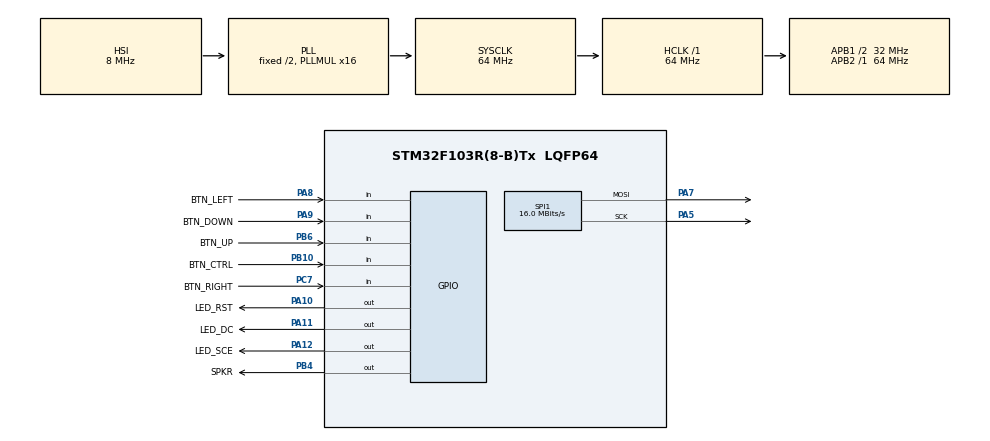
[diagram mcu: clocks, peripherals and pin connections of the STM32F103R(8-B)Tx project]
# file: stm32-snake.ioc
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Mcu.Family=STM32F1
Mcu.Name=STM32F103R(8-B)Tx
Mcu.Package=LQFP64
NVIC.PriorityGroup=NVIC_PRIORITYGROUP_4
PA10.GPIO_Label=LED_RST
PA10.Signal=GPIO_Output
PA11.GPIO_Label=LED_DC
PA11.Signal=GPIO_Output
PA12.GPIO_Label=LED_SCE
PA12.Signal=GPIO_Output
PA5.Mode=TX_Only_Simplex_Unidirect_Master
PA5.Signal=SPI1_SCK
PA7.Mode=TX_Only_Simplex_Unidirect_Master
PA7.Signal=SPI1_MOSI
PA8.GPIO_Label=BTN_LEFT
PA8.Signal=GPIO_Input
PA9.GPIO_Label=BTN_DOWN
PA9.Signal=GPIO_Input
PB10.GPIO_Label=BTN_CTRL
PB10.Signal=GPIO_Input
PB4.GPIO_Label=SPKR
PB4.Signal=GPIO_Output
PB6.GPIO_Label=BTN_UP
PB6.Signal=GPIO_Input
PC7.GPIO_Label=BTN_RIGHT
PC7.Signal=GPIO_Input
ProjectManager.HeapSize=0x200
ProjectManager.StackSize=0x400
ProjectManager.TargetToolchain=SW4STM32
RCC.AHBFreq_Value=64000000
RCC.APB1CLKDivider=RCC_HCLK_DIV2
RCC.APB1Freq_Value=32000000
RCC.APB1TimFreq_Value=64000000
RCC.APB2Freq_Value=64000000
RCC.APB2TimFreq_Value=64000000
RCC.HCLKFreq_Value=64000000
RCC.PLLMUL=RCC_PLL_MUL16
RCC.SYSCLKFreq_VALUE=64000000
RCC.SYSCLKSource=RCC_SYSCLKSOURCE_PLLCLK
RCC.USBFreq_Value=64000000
SPI1.BaudRatePrescaler=SPI_BAUDRATEPRESCALER_4
SPI1.CalculateBaudRate=16.0 MBits/s
SPI1.Direction=SPI_DIRECTION_2LINES
SPI1.Mode=SPI_MODE_MASTER
SPI1.VirtualType=VM_MASTER
TIM1.Period=0xffff-1
TIM1.Prescaler=64-1
VP_SYS_VS_ND.Mode=No_Debug
VP_TIM1_VS_ClockSourceINT.Mode=Internal
board=custom

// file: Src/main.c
/**
  ******************************************************************************
  * @file           : main.c
  * @brief          : Main program body
  ******************************************************************************
  ** This notice applies to any and all portions of this file
  * that are not between comment pairs USER CODE BEGIN and
  * USER CODE END. Other portions of this file, whether
  * inserted by the user or by software development tools
  * are owned by their respective copyright owners.
  *
  * COPYRIGHT(c) 2020 STMicroelectronics
  *
  * Redistribution and use in source and binary forms, with or without modification,
  * are permitted provided that the following conditions are met:
  *   1. Redistributions of source code must retain the above copyright notice,
  *      this list of conditions and the following disclaimer.
  *   2. Redistributions in binary form must reproduce the above copyright notice,
  *      this list of conditions and the following disclaimer in the documentation
  *      and/or other materials provided with the distribution.
  *   3. Neither the name of STMicroelectronics nor the names of its contributors
  *      may be used to endorse or promote products derived from this software
  *      without specific prior written permission.
  *
  * THIS SOFTWARE IS PROVIDED BY THE COPYRIGHT HOLDERS AND CONTRIBUTORS "AS IS"
  * AND ANY EXPRESS OR IMPLIED WARRANTIES, INCLUDING, BUT NOT LIMITED TO, THE
  * IMPLIED WARRANTIES OF MERCHANTABILITY AND FITNESS FOR A PARTICULAR PURPOSE ARE
  * DISCLAIMED. IN NO EVENT SHALL THE COPYRIGHT HOLDER OR CONTRIBUTORS BE LIABLE
  * FOR ANY DIRECT, INDIRECT, INCIDENTAL, SPECIAL, EXEMPLARY, OR CONSEQUENTIAL
  * DAMAGES (INCLUDING, BUT NOT LIMITED TO, PROCUREMENT OF SUBSTITUTE GOODS OR
  * SERVICES; LOSS OF USE, DATA, OR PROFITS; OR BUSINESS INTERRUPTION) HOWEVER
  * CAUSED AND ON ANY THEORY OF LIABILITY, WHETHER IN CONTRACT, STRICT LIABILITY,
  * OR TORT (INCLUDING NEGLIGENCE OR OTHERWISE) ARISING IN ANY WAY OUT OF THE USE
  * OF THIS SOFTWARE, EVEN IF ADVISED OF THE POSSIBILITY OF SUCH DAMAGE.
  *
  ******************************************************************************
  */
#include "main.h"
#include "stm32f1xx_hal.h"

/* USER CODE BEGIN Includes */
#include <string.h>
#include <stdlib.h>
#include "lcd/lcd5110.h"
#include "logo.h"
#include "game.h"
#include "tone.h"
/* USER CODE END Includes */

SPI_HandleTypeDef hspi1;

TIM_HandleTypeDef htim1;

/* USER CODE BEGIN PV */
/* Private variables ---------------------------------------------------------*/

/* USER CODE END PV */

void SystemClock_Config(void);
static void MX_GPIO_Init(void);
static void MX_SPI1_Init(void);
static void MX_TIM1_Init(void);

/* USER CODE BEGIN PFP */
/* Private function prototypes -----------------------------------------------*/

/* USER CODE END PFP */

/* USER CODE BEGIN 0 */
display_5110 display = {
        .hspi = &hspi1,
        .RESET_BASE = LED_RST_GPIO_Port,
        .RESET_PIN = LED_RST_Pin,
        .COM_DAT_BASE = LED_DC_GPIO_Port,
        .COM_DAT_PIN = LED_DC_Pin,
        .SCE_BASE = LED_SCE_GPIO_Port,
        .SCE_PIN = LED_SCE_Pin
};
int snake[SNAKE_MAX_SIZE][2] = { 0 };
int snakeLength = 4;
int snakeDirection = SNAKE_DIRECTION_LEFT;
int food[2] = { 4, 4 };
int snakeSpeed = 100; // ms between movement frames
int mode = MODE_START_SCREEN;
int gameState = GAME_STATE_IN_PROGRESS;

void initializeGame() {
    srand(__HAL_TIM_GET_COUNTER(&htim1));
    snakeLength = 4;
    snakeDirection = SNAKE_DIRECTION_LEFT;
    food[0] = 4;
    food[1] = 4;

    for (int i = 0; i < SNAKE_MAX_SIZE; i++) {
        snake[i][0] = 0;
        snake[i][1] = 0;
    }

    snake[0][0] = 17;
    snake[0][1] = 8;

    snake[1][0] = 16;
    snake[1][1] = 8;

    snake[2][0] = 15;
    snake[2][1] = 8;

    snake[3][0] = 14;
    snake[3][1] = 8;
}

void drawBorders() {
    draw_rect(&display, 0, 0, 84, 48);
}

void drawSnake(int snake[][2], int length) {
    for (int i = 0; i < length; i++) {
        draw_rect(&display, BLOCK_SIZE * snake[i][0], BLOCK_SIZE * snake[i][1], BLOCK_SIZE, BLOCK_SIZE);
    }
}

void drawFood(int food[2]) {
    draw_filled_rect(&display, BLOCK_SIZE * food[0], BLOCK_SIZE * food[1], BLOCK_SIZE, BLOCK_SIZE);
}

/* USER CODE END 0 */

int main(void)
{

  /* MCU Configuration----------------------------------------------------------*/

  /* Reset of all peripherals, Initializes the Flash interface and the Systick. */
  HAL_Init();

  /* Configure the system clock */
  SystemClock_Config();

  /* Initialize all configured peripherals */
  MX_GPIO_Init();
  MX_SPI1_Init();
  MX_TIM1_Init();
  /* USER CODE BEGIN 2 */
  HAL_TIM_Base_Start(&htim1);

  // Setup display
  uint8_t lcd_buffer[528] = { 0x00 };
  memcpy(lcd_buffer, snake_start_Bitmap, LCD_BUFFER_SIZE);
  display.buf = lcd_buffer;
  init_display(&display);
  print_string(&display, "Play: F button", 14, 0, 40);
  refresh_display(&display);

  /* USER CODE END 2 */

  /* Infinite loop */
  /* USER CODE BEGIN WHILE */
    while (1) {
        if (mode == MODE_START_SCREEN && HAL_GPIO_ReadPin(BTN_CTRL_GPIO_Port, BTN_CTRL_Pin) == GPIO_PIN_RESET) { // step into game
            mode = MODE_GAME_SCREEN;
            gameState = GAME_STATE_IN_PROGRESS;
            initializeGame();

            int doEats = false;
            int doBitesItself = false;
            int doCollidesWithWall = false;

            playNokiaTune(&htim1, SPKR_GPIO_Port, SPKR_Pin);

            while (true) {
                clear_display(&display);
                snakeDirection = determineDirection(snakeDirection);
                doEats = isSnakeEating(snake, snakeLength, food);
                doBitesItself = isSnakeBitesItself(snake, snakeLength);
                doCollidesWithWall = isSnakeCollidesWithWall(snake, snakeLength, snakeDirection);

                if (doEats) {
                    snakeLength++;
                    playFoodCatchSound(&htim1, SPKR_GPIO_Port, SPKR_Pin);
                    moveFood(snake, snakeLength, food);
                }

                if (doBitesItself || doCollidesWithWall) {
                    gameState = GAME_STATE_GAMEOVER;
                    mode = MODE_RESULT_SCREEN;
                    playGameOverSound(&htim1, SPKR_GPIO_Port, SPKR_Pin);
                    break;
                }

                if (snakeLength == SNAKE_MAX_SIZE) {
                    gameState = GAME_STATE_WIN;
                    mode = MODE_RESULT_SCREEN;
                    playWinnerSound(&htim1, SPKR_GPIO_Port, SPKR_Pin);
                    break;
                }

                moveSnake(snake, snakeLength, snakeDirection, doEats);
                drawBorders();
                drawSnake(snake, snakeLength);
                drawFood(food);
                refresh_display(&display);
                HAL_Delay(snakeSpeed);
            }
        }

        if (mode == MODE_RESULT_SCREEN && gameState == GAME_STATE_GAMEOVER) {
            clear_display(&display);
            print_string(&display, "Game Over :(", 12, 6, 0);

            char length[3];
            itoa(snakeLength, length, 10);
            char message[14] = "Length was ";
            strcat(message, length);
            print_string(&display, message, strlen(message), 4, 12);

            print_string(&display, "New game: F", 11, 8, 36);
            refresh_display(&display);
        }

        if (mode == MODE_RESULT_SCREEN && gameState == GAME_STATE_WIN) {
            clear_display(&display);
            print_string(&display, "You won!", 8, 16, 0);

            char length[3];
            itoa(snakeLength, length, 10);
            char message[14] = "Length was ";
            strcat(message, length);
            print_string(&display, message, strlen(message), 4, 12);

            print_string(&display, "New game: F", 11, 8, 36);
            refresh_display(&display);
        }

        if (mode == MODE_RESULT_SCREEN && HAL_GPIO_ReadPin(BTN_CTRL_GPIO_Port, BTN_CTRL_Pin) == GPIO_PIN_RESET) {
            mode = MODE_START_SCREEN;
        }

  /* USER CODE END WHILE */

    }

}

void SystemClock_Config(void)
{

  RCC_OscInitTypeDef RCC_OscInitStruct;
  RCC_ClkInitTypeDef RCC_ClkInitStruct;

    /**Initializes the CPU, AHB and APB busses clocks
    */
  RCC_OscInitStruct.OscillatorType = RCC_OSCILLATORTYPE_HSI;
  RCC_OscInitStruct.HSIState = RCC_HSI_ON;
  RCC_OscInitStruct.HSICalibrationValue = 16;
  RCC_OscInitStruct.PLL.PLLState = RCC_PLL_ON;
  RCC_OscInitStruct.PLL.PLLSource = RCC_PLLSOURCE_HSI_DIV2;
  RCC_OscInitStruct.PLL.PLLMUL = RCC_PLL_MUL16;
  if (HAL_RCC_OscConfig(&RCC_OscInitStruct) != HAL_OK)
  {
    _Error_Handler(__FILE__, __LINE__);
  }

    /**Initializes the CPU, AHB and APB busses clocks
    */
  RCC_ClkInitStruct.ClockType = RCC_CLOCKTYPE_HCLK|RCC_CLOCKTYPE_SYSCLK
                              |RCC_CLOCKTYPE_PCLK1|RCC_CLOCKTYPE_PCLK2;
  RCC_ClkInitStruct.SYSCLKSource = RCC_SYSCLKSOURCE_PLLCLK;
  RCC_ClkInitStruct.AHBCLKDivider = RCC_SYSCLK_DIV1;
  RCC_ClkInitStruct.APB1CLKDivider = RCC_HCLK_DIV2;
  RCC_ClkInitStruct.APB2CLKDivider = RCC_HCLK_DIV1;

  if (HAL_RCC_ClockConfig(&RCC_ClkInitStruct, FLASH_LATENCY_2) != HAL_OK)
  {
    _Error_Handler(__FILE__, __LINE__);
  }

    /**Configure the Systick interrupt time
    */
  HAL_SYSTICK_Config(HAL_RCC_GetHCLKFreq()/1000);

    /**Configure the Systick
    */
  HAL_SYSTICK_CLKSourceConfig(SYSTICK_CLKSOURCE_HCLK);

  /* SysTick_IRQn interrupt configuration */
  HAL_NVIC_SetPriority(SysTick_IRQn, 0, 0);
}

/* SPI1 init function */
static void MX_SPI1_Init(void)
{

  /* SPI1 parameter configuration*/
  hspi1.Instance = SPI1;
  hspi1.Init.Mode = SPI_MODE_MASTER;
  hspi1.Init.Direction = SPI_DIRECTION_2LINES;
  hspi1.Init.DataSize = SPI_DATASIZE_8BIT;
  hspi1.Init.CLKPolarity = SPI_POLARITY_LOW;
  hspi1.Init.CLKPhase = SPI_PHASE_1EDGE;
  hspi1.Init.NSS = SPI_NSS_SOFT;
  hspi1.Init.BaudRatePrescaler = SPI_BAUDRATEPRESCALER_4;
  hspi1.Init.FirstBit = SPI_FIRSTBIT_MSB;
  hspi1.Init.TIMode = SPI_TIMODE_DISABLE;
  hspi1.Init.CRCCalculation = SPI_CRCCALCULATION_DISABLE;
  hspi1.Init.CRCPolynomial = 10;
  if (HAL_SPI_Init(&hspi1) != HAL_OK)
  {
    _Error_Handler(__FILE__, __LINE__);
  }

}

/* TIM1 init function */
static void MX_TIM1_Init(void)
{

  TIM_ClockConfigTypeDef sClockSourceConfig;
  TIM_MasterConfigTypeDef sMasterConfig;

  htim1.Instance = TIM1;
  htim1.Init.Prescaler = 64-1;
  htim1.Init.CounterMode = TIM_COUNTERMODE_UP;
  htim1.Init.Period = 0xffff-1;
  htim1.Init.ClockDivision = TIM_CLOCKDIVISION_DIV1;
  htim1.Init.RepetitionCounter = 0;
  htim1.Init.AutoReloadPreload = TIM_AUTORELOAD_PRELOAD_DISABLE;
  if (HAL_TIM_Base_Init(&htim1) != HAL_OK)
  {
    _Error_Handler(__FILE__, __LINE__);
  }

  sClockSourceConfig.ClockSource = TIM_CLOCKSOURCE_INTERNAL;
  if (HAL_TIM_ConfigClockSource(&htim1, &sClockSourceConfig) != HAL_OK)
  {
    _Error_Handler(__FILE__, __LINE__);
  }

  sMasterConfig.MasterOutputTrigger = TIM_TRGO_RESET;
  sMasterConfig.MasterSlaveMode = TIM_MASTERSLAVEMODE_DISABLE;
  if (HAL_TIMEx_MasterConfigSynchronization(&htim1, &sMasterConfig) != HAL_OK)
  {
    _Error_Handler(__FILE__, __LINE__);
  }

}

/** Configure pins as
        * Analog
        * Input
        * Output
        * EVENT_OUT
        * EXTI
*/
static void MX_GPIO_Init(void)
{

  GPIO_InitTypeDef GPIO_InitStruct;

  /* GPIO Ports Clock Enable */
  __HAL_RCC_GPIOA_CLK_ENABLE();
  __HAL_RCC_GPIOB_CLK_ENABLE();
  __HAL_RCC_GPIOC_CLK_ENABLE();

  /*Configure GPIO pin Output Level */
  HAL_GPIO_WritePin(GPIOA, LED_RST_Pin|LED_DC_Pin|LED_SCE_Pin, GPIO_PIN_RESET);

  /*Configure GPIO pin Output Level */
  HAL_GPIO_WritePin(SPKR_GPIO_Port, SPKR_Pin, GPIO_PIN_RESET);

  /*Configure GPIO pins : BTN_CTRL_Pin BTN_UP_Pin */
  GPIO_InitStruct.Pin = BTN_CTRL_Pin|BTN_UP_Pin;
  GPIO_InitStruct.Mode = GPIO_MODE_INPUT;
  GPIO_InitStruct.Pull = GPIO_NOPULL;
  HAL_GPIO_Init(GPIOB, &GPIO_InitStruct);

  /*Configure GPIO pin : BTN_RIGHT_Pin */
  GPIO_InitStruct.Pin = BTN_RIGHT_Pin;
  GPIO_InitStruct.Mode = GPIO_MODE_INPUT;
  GPIO_InitStruct.Pull = GPIO_NOPULL;
  HAL_GPIO_Init(BTN_RIGHT_GPIO_Port, &GPIO_InitStruct);

  /*Configure GPIO pins : BTN_LEFT_Pin BTN_DOWN_Pin */
  GPIO_InitStruct.Pin = BTN_LEFT_Pin|BTN_DOWN_Pin;
  GPIO_InitStruct.Mode = GPIO_MODE_INPUT;
  GPIO_InitStruct.Pull = GPIO_NOPULL;
  HAL_GPIO_Init(GPIOA, &GPIO_InitStruct);

  /*Configure GPIO pins : LED_RST_Pin LED_DC_Pin LED_SCE_Pin */
  GPIO_InitStruct.Pin = LED_RST_Pin|LED_DC_Pin|LED_SCE_Pin;
  GPIO_InitStruct.Mode = GPIO_MODE_OUTPUT_PP;
  GPIO_InitStruct.Pull = GPIO_NOPULL;
  GPIO_InitStruct.Speed = GPIO_SPEED_FREQ_LOW;
  HAL_GPIO_Init(GPIOA, &GPIO_InitStruct);

  /*Configure GPIO pin : SPKR_Pin */
  GPIO_InitStruct.Pin = SPKR_Pin;
  GPIO_InitStruct.Mode = GPIO_MODE_OUTPUT_PP;
  GPIO_InitStruct.Pull = GPIO_NOPULL;
  GPIO_InitStruct.Speed = GPIO_SPEED_FREQ_LOW;
  HAL_GPIO_Init(SPKR_GPIO_Port, &GPIO_InitStruct);

}

void _Error_Handler(char *file, int line)
{
    while (1) {
    }
}

/************************ (C) COPYRIGHT STMicroelectronics *****END OF FILE****/
